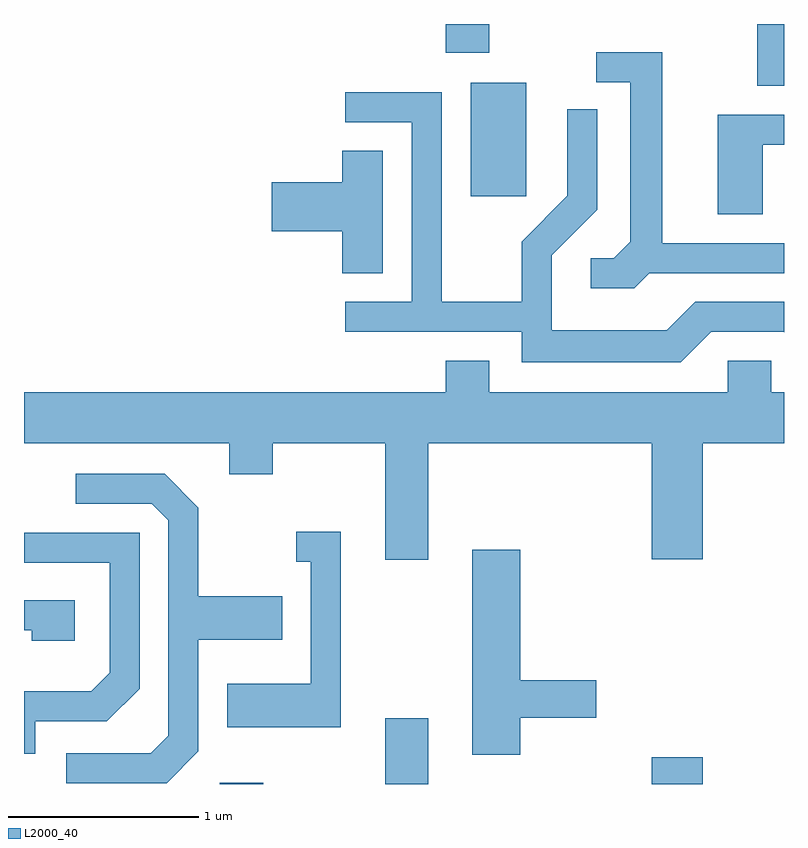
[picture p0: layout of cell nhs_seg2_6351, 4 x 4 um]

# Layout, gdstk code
import gdstk
lib = gdstk.Library(unit=1e-6, precision=1e-09)
def R(c, l, rs):  # rectangles x0, y0, x1, y1
    for r in rs: c.add(gdstk.rectangle(r[:2], r[2:], *l))
def P(c, l, *ps):  # polygons
    for p in ps: c.add(gdstk.Polygon(p, *l))
L2000_40 = (2000, 40)

nhs_seg2_6351 = lib.new_cell('nhs_seg2_6351')
R(nhs_seg2_6351, L2000_40, [(372.641,1099.802,372.869,1099.809), (373.511,1099.802,373.739,1100.149), (374.916,1099.802,375.184,1099.944), (373.961,1102.896,374.254,1103.494), (375.471,1103.476,375.611,1103.802), (373.831,1103.651,374.059,1103.802)])
P(nhs_seg2_6351, L2000_40, [(374.902,1102.491),(375.611,1102.491),(375.611,1102.649),(374.969,1102.649),(374.969,1103.654),(374.623,1103.654),(374.623,1103.496),(374.801,1103.496),(374.801,1102.657),(374.714,1102.569),(374.593,1102.569),(374.593,1102.411),(374.822,1102.411)],
  [(375.227,1102.181),(375.609,1102.181),(375.611,1102.179),(375.611,1102.339),(375.144,1102.339),(374.994,1102.189),(374.389,1102.189),(374.389,1102.584),(374.629,1102.824),(374.629,1103.353),(374.471,1103.353),(374.471,1102.897),(374.231,1102.657),(374.231,1102.339),(373.809,1102.339),(373.809,1103.444),(373.303,1103.444),(373.303,1103.286),(373.651,1103.286),(373.651,1102.339),(373.303,1102.339),(373.303,1102.181),(374.231,1102.181),(374.231,1102.021),(375.067,1102.021)],
  [(375.499,1103.166),(375.611,1103.166),(375.611,1103.324),(375.261,1103.324),(375.261,1102.801),(375.499,1102.801)],
  [(373.499,1103.134),(373.286,1103.134),(373.286,1102.969),(372.916,1102.969),(372.916,1102.711),(373.286,1102.711),(373.286,1102.491),(373.499,1102.491)],
  [(373.739,1101.596),(374.916,1101.596),(374.916,1100.986),(375.184,1100.986),(375.184,1101.596),(375.611,1101.596),(375.611,1101.864),(375.544,1101.864),(375.544,1102.029),(375.316,1102.029),(375.316,1101.864),(374.059,1101.864),(374.059,1102.029),(373.831,1102.029),(373.831,1101.864),(371.611,1101.864),(371.611,1101.596),(372.691,1101.596),(372.691,1101.431),(372.919,1101.431),(372.919,1101.596),(373.511,1101.596),(373.511,1100.981),(373.739,1100.981)],
  [(372.529,1099.974),(372.529,1100.561),(372.969,1100.561),(372.969,1100.789),(372.529,1100.789),(372.529,1101.257),(372.352,1101.434),(371.883,1101.434),(371.883,1101.276),(372.284,1101.276),(372.371,1101.189),(372.371,1100.057),(372.279,1099.964),(371.833,1099.964),(371.833,1099.806),(372.362,1099.806)],
  [(373.279,1101.129),(373.043,1101.129),(373.043,1100.971),(373.121,1100.971),(373.121,1100.329),(372.681,1100.329),(372.681,1100.101),(373.279,1100.101)],
  [(371.669,1100.131),(372.047,1100.131),(372.219,1100.304),(372.219,1101.124),(371.611,1101.124),(371.611,1100.966),(372.061,1100.966),(372.061,1100.387),(371.964,1100.289),(371.611,1100.289),(371.611,1099.961),(371.669,1099.961)],
  [(374.224,1100.151),(374.624,1100.151),(374.624,1100.349),(374.224,1100.349),(374.224,1101.034),(373.971,1101.034),(373.971,1099.956),(374.224,1099.956)],
  [(371.879,1100.769),(371.611,1100.769),(371.611,1100.611),(371.651,1100.611),(371.651,1100.556),(371.879,1100.556)])

lib.write_gds('nhs_seg2_6351.gds')
